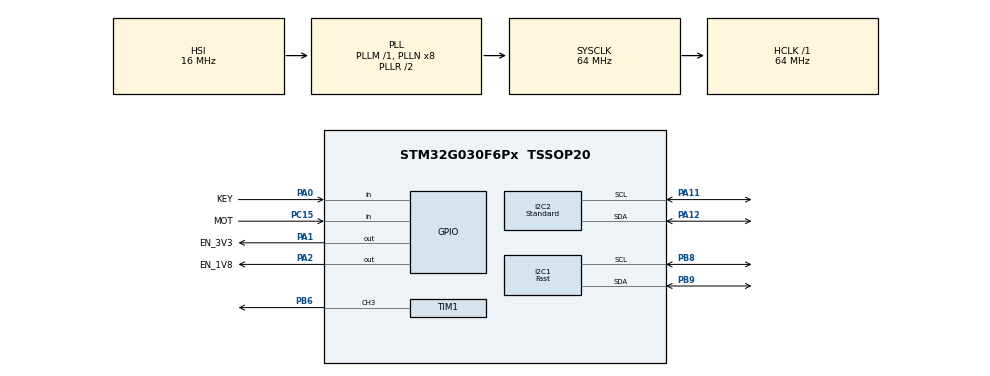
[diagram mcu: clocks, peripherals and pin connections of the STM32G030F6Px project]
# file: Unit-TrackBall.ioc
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I2C1.I2C_Speed_Mode=I2C_Fast
I2C1.Timing=0x00C12166
I2C2.CustomTiming=Disabled
I2C2.I2C_Speed_Mode=I2C_Standard
I2C2.OwnAddress=0x3F
I2C2.Timing=0x10B17DB5
IWDG.Prescaler=IWDG_PRESCALER_32
IWDG.Reload=2999
Mcu.Family=STM32G0
Mcu.Name=STM32G030F6Px
Mcu.Package=TSSOP20
NVIC.I2C2_IRQn=true\:0\:0\:false\:false\:false\:true\:true\:true
PA0.GPIO_Label=KEY
PA0.GPIO_PuPd=GPIO_PULLUP
PA0.Signal=GPIO_Input
PA1.GPIO_Label=EN_3V3
PA1.Signal=GPIO_Output
PA11\ [PA9].Mode=I2C
PA11\ [PA9].Signal=I2C2_SCL
PA12\ [PA10].Mode=I2C
PA12\ [PA10].Signal=I2C2_SDA
PA13.Mode=Serial_Wire
PA13.Signal=SYS_SWDIO
PA14-BOOT0.Mode=Serial_Wire
PA14-BOOT0.Signal=SYS_SWCLK
PA14-BOOT0__PA15.StandardMode=true
PA2.GPIO_Label=EN_1V8
PA2.Signal=GPIO_Output
PB0__PB1__PB2__PA8.StandardMode=true
PB3__PB4__PB5__PB6.StandardMode=true
PB6.Signal=S_TIM1_CH3
PB7__PB8.StandardMode=true
PB8.Mode=I2C
PB8.Signal=I2C1_SCL
PB9.Mode=I2C
PB9.Signal=I2C1_SDA
PC14-OSC32_IN\ (PC14)__PB9.StandardMode=true
PC15-OSC32_OUT\ (PC15).GPIO_Label=MOT
PC15-OSC32_OUT\ (PC15).Signal=GPIO_Input
ProjectManager.HeapSize=0x200
ProjectManager.StackSize=0x400
ProjectManager.TargetToolchain=CMake
RCC.ADCFreq_Value=64000000
RCC.AHBFreq_Value=64000000
RCC.CortexFreq_Value=64000000
RCC.EXTERNAL_CLOCK_VALUE=12288000
RCC.HCLKFreq_Value=64000000
RCC.HSE_VALUE=8000000
RCC.HSI_VALUE=16000000
RCC.LSE_VALUE=32768
RCC.SYSCLKFreq_VALUE=64000000
RCC.SYSCLKSource=RCC_SYSCLKSOURCE_PLLCLK
RCC.VCOOutputFreq_Value=128000000
SH.S_TIM1_CH3.0=TIM1_CH3,PWM Generation3 CH3
TIM1.Channel-PWM\ Generation3\ CH3=TIM_CHANNEL_3
TIM1.Prescaler=63
VP_IWDG_VS_IWDG.Mode=IWDG_Activate
VP_TIM1_VS_ClockSourceINT.Mode=Internal
board=custom

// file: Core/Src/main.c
/* USER CODE BEGIN Header */
/**
 ******************************************************************************
 * @file           : main.c
 * @brief          : Main program body
 ******************************************************************************
 * @attention
 *
 * Copyright (c) 2026 STMicroelectronics.
 * All rights reserved.
 *
 * This software is licensed under terms that can be found in the LICENSE file
 * in the root directory of this software component.
 * If no LICENSE file comes with this software, it is provided AS-IS.
 *
 ******************************************************************************
 */
/* USER CODE END Header */
#include "main.h"
#include "i2c.h"
#include "iwdg.h"
#include "tim.h"
#include "gpio.h"

/* USER CODE BEGIN Includes */
#include "user_i2c.h"
#include "user_key.h"
#include "user_led.h"
#include "user_uid.h"
#include "mixo_ots_app.h"
/* USER CODE END Includes */

void SystemClock_Config(void);

int main(void)
{

  /* MCU Configuration--------------------------------------------------------*/

  /* Reset of all peripherals, Initializes the Flash interface and the Systick. */
  HAL_Init();

  /* Configure the system clock */
  SystemClock_Config();

  /* Initialize all configured peripherals */
  MX_GPIO_Init();
  MX_I2C1_Init();
  MX_I2C2_Init();
  MX_TIM1_Init();
  MX_IWDG_Init();
  /* USER CODE BEGIN 2 */
  user_led_init();
  user_uid_init();
  user_key_init();
  mixo_ots_app_init();
  i2c_address_init();
  user_i2c_init();
  i2c2_it_enable();
  /* USER CODE END 2 */

  /* Infinite loop */
  /* USER CODE BEGIN WHILE */
  while (1)
  {
    i2c_address_update_handler();
    i2c_timeout_handler();
    user_key_poll();
    /* USER CODE END WHILE */

    /* USER CODE BEGIN 3 */
    mixo_ots_app_poll();
    LL_IWDG_ReloadCounter(IWDG);
  }
  /* USER CODE END 3 */
}

void SystemClock_Config(void)
{
  RCC_OscInitTypeDef RCC_OscInitStruct = {0};
  RCC_ClkInitTypeDef RCC_ClkInitStruct = {0};

  /** Configure the main internal regulator output voltage
   */
  HAL_PWREx_ControlVoltageScaling(PWR_REGULATOR_VOLTAGE_SCALE1);

  /** Initializes the RCC Oscillators according to the specified parameters
   * in the RCC_OscInitTypeDef structure.
   */
  RCC_OscInitStruct.OscillatorType = RCC_OSCILLATORTYPE_HSI;
  RCC_OscInitStruct.HSIState = RCC_HSI_ON;
  RCC_OscInitStruct.HSIDiv = RCC_HSI_DIV1;
  RCC_OscInitStruct.HSICalibrationValue = RCC_HSICALIBRATION_DEFAULT;
  RCC_OscInitStruct.PLL.PLLState = RCC_PLL_ON;
  RCC_OscInitStruct.PLL.PLLSource = RCC_PLLSOURCE_HSI;
  RCC_OscInitStruct.PLL.PLLM = RCC_PLLM_DIV1;
  RCC_OscInitStruct.PLL.PLLN = 8;
  RCC_OscInitStruct.PLL.PLLP = RCC_PLLP_DIV2;
  RCC_OscInitStruct.PLL.PLLR = RCC_PLLR_DIV2;
  if (HAL_RCC_OscConfig(&RCC_OscInitStruct) != HAL_OK)
  {
    Error_Handler();
  }

  /** Initializes the CPU, AHB and APB buses clocks
   */
  RCC_ClkInitStruct.ClockType = RCC_CLOCKTYPE_HCLK|RCC_CLOCKTYPE_SYSCLK
                              |RCC_CLOCKTYPE_PCLK1;
  RCC_ClkInitStruct.SYSCLKSource = RCC_SYSCLKSOURCE_PLLCLK;
  RCC_ClkInitStruct.AHBCLKDivider = RCC_SYSCLK_DIV1;
  RCC_ClkInitStruct.APB1CLKDivider = RCC_HCLK_DIV1;

  if (HAL_RCC_ClockConfig(&RCC_ClkInitStruct, FLASH_LATENCY_2) != HAL_OK)
  {
    Error_Handler();
  }
}

void Error_Handler(void)
{
  __disable_irq();
  while (1)
  {
  }
}
